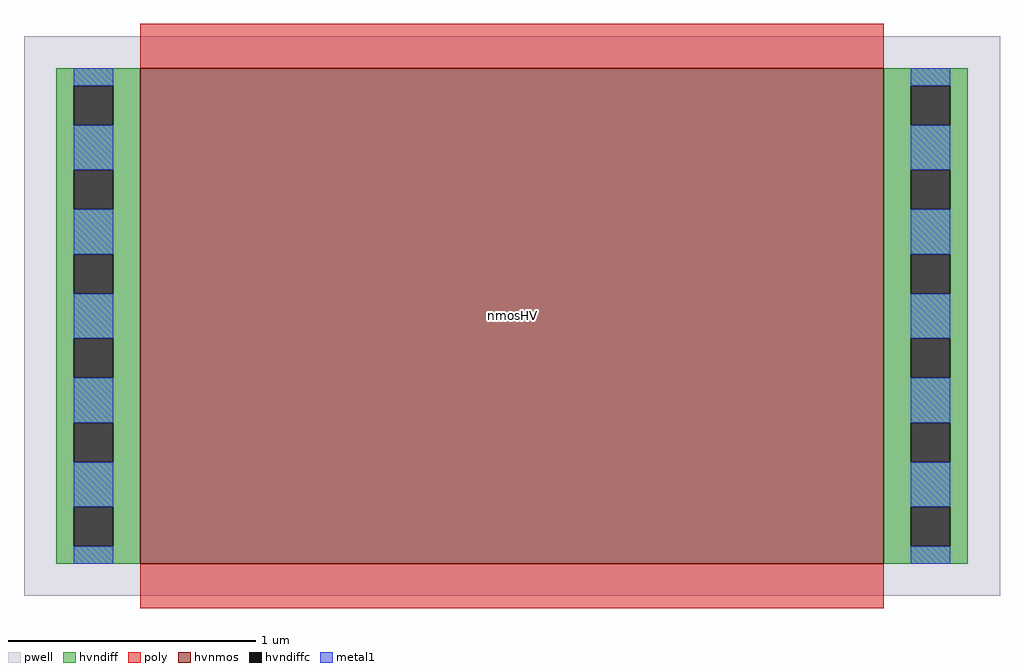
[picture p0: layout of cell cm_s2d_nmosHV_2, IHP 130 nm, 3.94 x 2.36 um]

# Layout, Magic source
magic
tech ihp-sg13cmos5l
<< pwell >>
rect -13 -13 381 213
<< hvnmos >>
rect 34 0 334 200
<< hvndiff >>
rect 0 193 34 200
rect 0 177 7 193
rect 23 177 34 193
rect 0 159 34 177
rect 0 143 7 159
rect 23 143 34 159
rect 0 125 34 143
rect 0 109 7 125
rect 23 109 34 125
rect 0 91 34 109
rect 0 75 7 91
rect 23 75 34 91
rect 0 57 34 75
rect 0 41 7 57
rect 23 41 34 57
rect 0 23 34 41
rect 0 7 7 23
rect 23 7 34 23
rect 0 0 34 7
rect 334 193 368 200
rect 334 177 345 193
rect 361 177 368 193
rect 334 159 368 177
rect 334 143 345 159
rect 361 143 368 159
rect 334 125 368 143
rect 334 109 345 125
rect 361 109 368 125
rect 334 91 368 109
rect 334 75 345 91
rect 361 75 368 91
rect 334 57 368 75
rect 334 41 345 57
rect 361 41 368 57
rect 334 23 368 41
rect 334 7 345 23
rect 361 7 368 23
rect 334 0 368 7
<< hvndiffc >>
rect 7 177 23 193
rect 7 143 23 159
rect 7 109 23 125
rect 7 75 23 91
rect 7 41 23 57
rect 7 7 23 23
rect 345 177 361 193
rect 345 143 361 159
rect 345 109 361 125
rect 345 75 361 91
rect 345 41 361 57
rect 345 7 361 23
<< poly >>
rect 34 200 334 218
rect 34 -18 334 0
<< metal1 >>
rect 7 193 23 200
rect 7 159 23 177
rect 7 125 23 143
rect 7 91 23 109
rect 7 57 23 75
rect 7 23 23 41
rect 7 0 23 7
rect 345 193 361 200
rect 345 159 361 177
rect 345 125 361 143
rect 345 91 361 109
rect 345 57 361 75
rect 345 23 361 41
rect 345 0 361 7
<< labels >>
flabel comment s 184 100 184 100 0 FreeSans 100 90 0 0 nmosHV
<< properties >>
string GDS_END 10068
string GDS_FILE custom_io/gds/sg13cmos5l_IOPadSingle2Diff.uniq.gds
string GDS_START 8448
<< end >>
